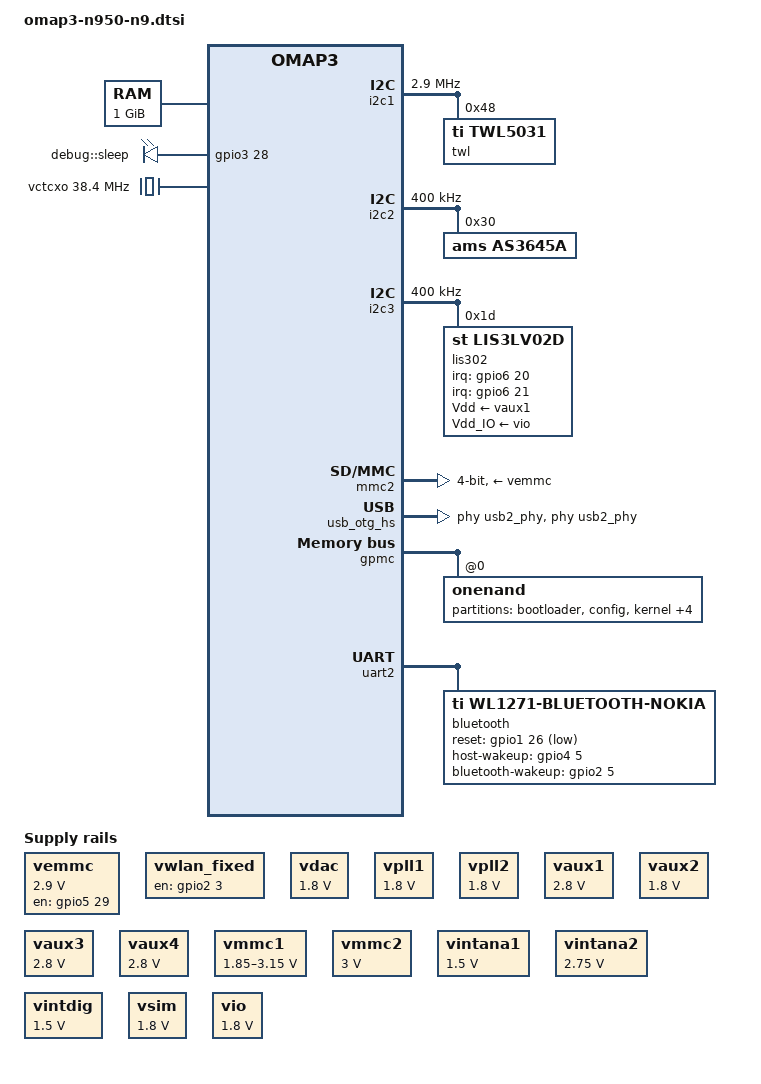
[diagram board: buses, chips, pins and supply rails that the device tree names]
/*
 * omap3-n950-n9.dtsi - Device Tree file for Nokia N950 & N9 (common stuff)
 *
 * Written by: Aaro Koskinen <aaro.koskinen@iki.fi>
 *
 * This program is free software; you can redistribute it and/or modify
 * it under the terms of the GNU General Public License version 2 as
 * published by the Free Software Foundation.
 */

#include "omap36xx.dtsi"

/ {
	cpus {
		cpu@0 {
			cpu0-supply = <&vcc>;
			operating-points = <
				/* kHz    uV */
				300000  1012500
				600000  1200000
				800000  1325000
				1000000	1375000
			>;
		};
	};

	memory@80000000 {
		device_type = "memory";
		reg = <0x80000000 0x40000000>; /* 1 GB */
	};

	vemmc: fixedregulator0 {
		compatible = "regulator-fixed";
		regulator-name = "VEMMC";
		regulator-min-microvolt = <2900000>;
		regulator-max-microvolt = <2900000>;
		gpio = <&gpio5 29 GPIO_ACTIVE_HIGH>; /* gpio line 157 */
		startup-delay-us = <150>;
		enable-active-high;
	};

	vwlan_fixed: fixedregulator2 {
		compatible = "regulator-fixed";
		regulator-name = "VWLAN";
		gpio = <&gpio2 3 GPIO_ACTIVE_HIGH>; /* gpio 35 */
		enable-active-high;
		regulator-boot-off;
	};

	leds {
		compatible = "gpio-leds";

		heartbeat {
			label = "debug::sleep";
			gpios = <&gpio3 28 GPIO_ACTIVE_HIGH>;  /* gpio92 */
			linux,default-trigger = "default-on";
			pinctrl-names = "default";
			pinctrl-0 = <&debug_leds>;
		};
	};

	/* controlled (enabled/disabled) directly by wl1271 */
	vctcxo: vctcxo {
		compatible = "fixed-clock";
		#clock-cells = <0>;
		clock-frequency = <38400000>;
	};
};

&omap3_pmx_core {
	accelerator_pins: pinmux_accelerator_pins {
		pinctrl-single,pins = <
			OMAP3_CORE1_IOPAD(0x21da, PIN_INPUT | MUX_MODE4)	/* mcspi2_somi.gpio_180 -> LIS302 INT1 */
			OMAP3_CORE1_IOPAD(0x21dc, PIN_INPUT | MUX_MODE4)	/* mcspi2_cs0.gpio_181 -> LIS302 INT2 */
		>;
	};

	debug_leds: pinmux_debug_led_pins {
		pinctrl-single,pins = <
			OMAP3_CORE1_IOPAD(0x2108, PIN_OUTPUT | MUX_MODE4)       /* dss_data22.gpio_92 */
		>;
	};

	mmc2_pins: pinmux_mmc2_pins {
		pinctrl-single,pins = <
			OMAP3_CORE1_IOPAD(0x2158, PIN_INPUT_PULLUP | MUX_MODE0) /* sdmmc2_clk */
			OMAP3_CORE1_IOPAD(0x215a, PIN_INPUT_PULLUP | MUX_MODE0) /* sdmmc2_cmd */
			OMAP3_CORE1_IOPAD(0x215c, PIN_INPUT_PULLUP | MUX_MODE0) /* sdmmc2_dat0 */
			OMAP3_CORE1_IOPAD(0x215e, PIN_INPUT_PULLUP | MUX_MODE0) /* sdmmc2_dat1 */
			OMAP3_CORE1_IOPAD(0x2160, PIN_INPUT_PULLUP | MUX_MODE0) /* sdmmc2_dat2 */
			OMAP3_CORE1_IOPAD(0x2162, PIN_INPUT_PULLUP | MUX_MODE0) /* sdmmc2_dat3 */
		>;
	};

	wlan_pins: pinmux_wlan_pins {
		pinctrl-single,pins = <
			OMAP3_CORE1_IOPAD(0x207c, PIN_OUTPUT | MUX_MODE4) /* gpio 35 - wlan enable */
			OMAP3_CORE1_IOPAD(0x208a, PIN_INPUT | MUX_MODE4) /* gpio 42 - wlan irq */
		>;
	};

	ssi_pins: pinmux_ssi_pins {
		pinctrl-single,pins = <
			OMAP3_CORE1_IOPAD(0x217c, PIN_OUTPUT | MUX_MODE1)            /* ssi1_dat_tx */
			OMAP3_CORE1_IOPAD(0x217e, PIN_OUTPUT | MUX_MODE1)            /* ssi1_flag_tx */
			OMAP3_CORE1_IOPAD(0x2180, PIN_INPUT_PULLUP | MUX_MODE1)      /* ssi1_rdy_tx */
			OMAP3_CORE1_IOPAD(0x2182, PIN_INPUT | MUX_MODE4)	/* ssi1_wake_tx (cawake) */
			OMAP3_CORE1_IOPAD(0x2184, PIN_INPUT | MUX_MODE1)             /* ssi1_dat_rx */
			OMAP3_CORE1_IOPAD(0x2186, PIN_INPUT | MUX_MODE1)             /* ssi1_flag_rx */
			OMAP3_CORE1_IOPAD(0x2188, PIN_OUTPUT | MUX_MODE1)            /* ssi1_rdy_rx */
			OMAP3_CORE1_IOPAD(0x218a, PIN_OUTPUT | MUX_MODE1)            /* ssi1_wake */
		>;
	};

	ssi_pins_idle: pinmux_ssi_pins_idle {
		pinctrl-single,pins = <
			OMAP3_CORE1_IOPAD(0x217c, PIN_OUTPUT | MUX_MODE7)            /* ssi1_dat_tx */
			OMAP3_CORE1_IOPAD(0x217e, PIN_OUTPUT | MUX_MODE7)            /* ssi1_flag_tx */
			OMAP3_CORE1_IOPAD(0x2180, PIN_INPUT_PULLDOWN | MUX_MODE7)    /* ssi1_rdy_tx */
			OMAP3_CORE1_IOPAD(0x2182, PIN_INPUT | MUX_MODE4)	/* ssi1_wake_tx (cawake) */
			OMAP3_CORE1_IOPAD(0x2184, PIN_INPUT | MUX_MODE7)             /* ssi1_dat_rx */
			OMAP3_CORE1_IOPAD(0x2186, PIN_INPUT | MUX_MODE7)             /* ssi1_flag_rx */
			OMAP3_CORE1_IOPAD(0x2188, PIN_OUTPUT | MUX_MODE4)            /* ssi1_rdy_rx */
			OMAP3_CORE1_IOPAD(0x218a, PIN_OUTPUT | MUX_MODE7)            /* ssi1_wake */
		>;
	};

	modem_pins1: pinmux_modem_core1_pins {
		pinctrl-single,pins = <
			OMAP3_CORE1_IOPAD(0x207a, PIN_INPUT | MUX_MODE4)	/* gpio_34 (ape_rst_rq) */
			OMAP3_CORE1_IOPAD(0x2100, PIN_OUTPUT | MUX_MODE4)            /* gpio_88 (cmt_rst_rq) */
			OMAP3_CORE1_IOPAD(0x210a, PIN_OUTPUT | MUX_MODE4)            /* gpio_93 (cmt_apeslpx) */
		>;
	};

	uart2_pins: pinmux_uart2_pins {
		pinctrl-single,pins = <
			OMAP3_CORE1_IOPAD(0x2174, PIN_INPUT_PULLUP | MUX_MODE0)		/* uart2_cts */
			OMAP3_CORE1_IOPAD(0x2176, PIN_OUTPUT | MUX_MODE0)		/* uart2_rts */
			OMAP3_CORE1_IOPAD(0x2178, PIN_OUTPUT | MUX_MODE0)		/* uart2_tx */
			OMAP3_CORE1_IOPAD(0x217a, PIN_INPUT | MUX_MODE0)		/* uart2_rx */
		>;
	};
};

&omap3_pmx_core2 {
	modem_pins2: pinmux_modem_core2_pins {
		pinctrl-single,pins = <
			OMAP3630_CORE2_IOPAD(0x25ec, PIN_OUTPUT | MUX_MODE4)         /* gpio_23 (cmt_en) */
		>;
	};
};

&i2c1 {
	clock-frequency = <2900000>;

	twl: twl@48 {
		reg = <0x48>;
		interrupts = <7>; /* SYS_NIRQ cascaded to intc */
		interrupt-parent = <&intc>;
	};
};

/include/ "twl4030.dtsi"

&twl {
	compatible = "ti,twl5031";

	twl_power: power {
		compatible = "ti,twl4030-power";
		ti,use_poweroff;
	};
};

&twl_gpio {
	ti,pullups	= <0x000001>; /* BIT(0) */
	ti,pulldowns	= <0x008106>; /* BIT(1) | BIT(2) | BIT(8) | BIT(15) */
};

&vdac {
	regulator-name = "vdac";
	regulator-min-microvolt = <1800000>;
	regulator-max-microvolt = <1800000>;
};

&vpll1 {
	regulator-name = "vpll1";
	regulator-min-microvolt = <1800000>;
	regulator-max-microvolt = <1800000>;
};

&vpll2 {
	regulator-name = "vpll2";
	regulator-min-microvolt = <1800000>;
	regulator-max-microvolt = <1800000>;
};

&vaux1 {
	regulator-name = "vaux1";
	regulator-min-microvolt = <2800000>;
	regulator-max-microvolt = <2800000>;
};

/* CSI-2 receiver */
&vaux2 {
	regulator-name = "vaux2";
	regulator-min-microvolt = <1800000>;
	regulator-max-microvolt = <1800000>;
};

/* Cameras */
&vaux3 {
	regulator-name = "vaux3";
	regulator-min-microvolt = <2800000>;
	regulator-max-microvolt = <2800000>;
};

&vaux4 {
	regulator-name = "vaux4";
	regulator-min-microvolt = <2800000>;
	regulator-max-microvolt = <2800000>;
};

&vmmc1 {
	regulator-name = "vmmc1";
	regulator-min-microvolt = <1850000>;
	regulator-max-microvolt = <3150000>;
};

&vmmc2 {
	regulator-name = "vmmc2";
	regulator-min-microvolt = <3000000>;
	regulator-max-microvolt = <3000000>;
};

&vintana1 {
	regulator-name = "vintana1";
	regulator-min-microvolt = <1500000>;
	regulator-max-microvolt = <1500000>;
};

&vintana2 {
	regulator-name = "vintana2";
	regulator-min-microvolt = <2750000>;
	regulator-max-microvolt = <2750000>;
};

&vintdig {
	regulator-name = "vintdig";
	regulator-min-microvolt = <1500000>;
	regulator-max-microvolt = <1500000>;
};

&vsim {
	regulator-name = "vsim";
	regulator-min-microvolt = <1800000>;
	regulator-max-microvolt = <1800000>;
};

&vio {
	regulator-name = "vio";
	regulator-min-microvolt = <1800000>;
	regulator-max-microvolt = <1800000>;
};

&i2c2 {
	clock-frequency = <400000>;

	as3645a@30 {
		#address-cells = <1>;
		#size-cells = <0>;
		reg = <0x30>;
		compatible = "ams,as3645a";
		as3645a_flash: flash@0 {
			reg = <0x0>;
			flash-timeout-us = <150000>;
			flash-max-microamp = <320000>;
			led-max-microamp = <60000>;
			ams,input-max-microamp = <1750000>;
		};
		as3645a_indicator: indicator@1 {
			reg = <0x1>;
			led-max-microamp = <10000>;
		};
	};
};

&i2c3 {
	clock-frequency = <400000>;

	lis302: lis302@1d {
		compatible = "st,lis3lv02d";
		reg = <0x1d>;

		Vdd-supply = <&vaux1>;
		Vdd_IO-supply = <&vio>;

		pinctrl-names = "default";
		pinctrl-0 = <&accelerator_pins>;

                interrupts-extended = <&gpio6 20 IRQ_TYPE_EDGE_FALLING>, <&gpio6 21 IRQ_TYPE_EDGE_FALLING>; /* 180, 181 */

		/* click flags */
		st,click-single-x;
		st,click-single-y;
		st,click-single-z;

		/* Limits are 0.5g * value */
		st,click-threshold-x = <8>;
		st,click-threshold-y = <8>;
		st,click-threshold-z = <10>;

		/* Click must be longer than time limit */
		st,click-time-limit = <9>;

		/* Kind of debounce filter */
		st,click-latency = <50>;

		st,wakeup-x-hi;
		st,wakeup-y-hi;
		st,wakeup-threshold = <(800/18)>; /* millig-value / 18 to get HW values */

		st,wakeup2-z-hi;
		st,wakeup2-threshold = <(1000/18)>; /* millig-value / 18 to get HW values */

		st,highpass-cutoff-hz = <2>;

		/* Interrupt line 1 for thresholds */
		st,irq1-ff-wu-1;
		st,irq1-ff-wu-2;
		/* Interrupt line 2 for click detection */
		st,irq2-click;

		st,wu-duration-1 = <8>;
		st,wu-duration-2 = <8>;
	};
};

&mmc1 {
	status = "disabled";
};

&mmc2 {
	pinctrl-names = "default";
	pinctrl-0 = <&mmc2_pins>;
	vmmc-supply = <&vemmc>;
	bus-width = <4>;
	ti,non-removable;
};

&mmc3 {
	status = "disabled";
};

&usb_otg_hs {
	interface-type = <0>;
	usb-phy = <&usb2_phy>;
	phys = <&usb2_phy>;
	phy-names = "usb2-phy";
	mode = <3>;
	power = <50>;
};

&gpmc {
	ranges = <0 0 0x04000000 0x1000000>;	/* CS0: 16MB for OneNAND */

	onenand@0,0 {
		#address-cells = <1>;
		#size-cells = <1>;
		reg = <0 0 0x20000>;	/* CS0, offset 0, IO size 128K */

		gpmc,sync-read;
		gpmc,sync-write;
		gpmc,burst-length = <16>;
		gpmc,burst-read;
		gpmc,burst-wrap;
		gpmc,burst-write;
		gpmc,device-width = <2>;
		gpmc,mux-add-data = <2>;
		gpmc,cs-on-ns = <0>;
		gpmc,cs-rd-off-ns = <87>;
		gpmc,cs-wr-off-ns = <87>;
		gpmc,adv-on-ns = <0>;
		gpmc,adv-rd-off-ns = <10>;
		gpmc,adv-wr-off-ns = <10>;
		gpmc,oe-on-ns = <15>;
		gpmc,oe-off-ns = <87>;
		gpmc,we-on-ns = <0>;
		gpmc,we-off-ns = <87>;
		gpmc,rd-cycle-ns = <112>;
		gpmc,wr-cycle-ns = <112>;
		gpmc,access-ns = <81>;
		gpmc,page-burst-access-ns = <15>;
		gpmc,bus-turnaround-ns = <0>;
		gpmc,cycle2cycle-delay-ns = <0>;
		gpmc,wait-monitoring-ns = <0>;
		gpmc,clk-activation-ns = <5>;
		gpmc,wr-data-mux-bus-ns = <30>;
		gpmc,wr-access-ns = <81>;
		gpmc,sync-clk-ps = <15000>;

		/*
		 * MTD partition table corresponding to Nokia's MeeGo 1.2
		 * Harmattan release.
		 */
		partition@0 {
			label = "bootloader";
			reg = <0x00000000 0x00100000>;
		};
		partition@1 {
			label = "config";
			reg = <0x00100000 0x002c0000>;
		};
		partition@2 {
			label = "kernel";
			reg = <0x003c0000 0x01000000>;
		};
		partition@3 {
			label = "log";
			reg = <0x013c0000 0x00200000>;
		};
		partition@4 {
			label = "var";
			reg = <0x015c0000 0x1ca40000>;
		};
		partition@5 {
			label = "moslo";
			reg = <0x1e000000 0x02000000>;
		};
		partition@6 {
			label = "omap2-onenand";
			reg = <0x00000000 0x20000000>;
		};
	};
};

&ssi_port1 {
	pinctrl-names = "default", "idle";
	pinctrl-0 = <&ssi_pins>;
	pinctrl-1 = <&ssi_pins_idle>;

	ti,ssi-cawake-gpio = <&gpio5 23 GPIO_ACTIVE_HIGH>; /* 151 */

	modem: hsi-client {
		pinctrl-names = "default";
		pinctrl-0 = <&modem_pins1 &modem_pins2>;

		hsi-channel-ids = <0>, <1>, <2>, <3>;
		hsi-channel-names = "mcsaab-control",
				    "speech-control",
				    "speech-data",
				    "mcsaab-data";
		hsi-speed-kbps = <96000>;
		hsi-mode = "frame";
		hsi-flow = "synchronized";
		hsi-arb-mode = "round-robin";

		interrupts-extended = <&gpio2 2 IRQ_TYPE_EDGE_RISING>; /* gpio 34 */

		gpios = <&gpio3 29 GPIO_ACTIVE_HIGH>, /* gpio 93 */
			<&gpio3 24 GPIO_ACTIVE_HIGH>, /* gpio 88 */
			<&gpio1 23 GPIO_ACTIVE_HIGH>; /* gpio 23 */
		gpio-names = "cmt_apeslpx",
			     "cmt_rst_rq",
			     "cmt_en";
	};
};

&ssi_port2 {
	status = "disabled";
};

&uart2 {
	pinctrl-names = "default";
	pinctrl-0 = <&uart2_pins>;

	bluetooth {
		compatible = "ti,wl1271-bluetooth-nokia", "nokia,h4p-bluetooth";

		reset-gpios = <&gpio1 26 GPIO_ACTIVE_LOW>; /* 26 */
		host-wakeup-gpios = <&gpio4 5 GPIO_ACTIVE_HIGH>; /* 101 */
		bluetooth-wakeup-gpios = <&gpio2 5 GPIO_ACTIVE_HIGH>; /* 37 */

		clocks = <&vctcxo>;
		clock-names = "sysclk";
	};
};
